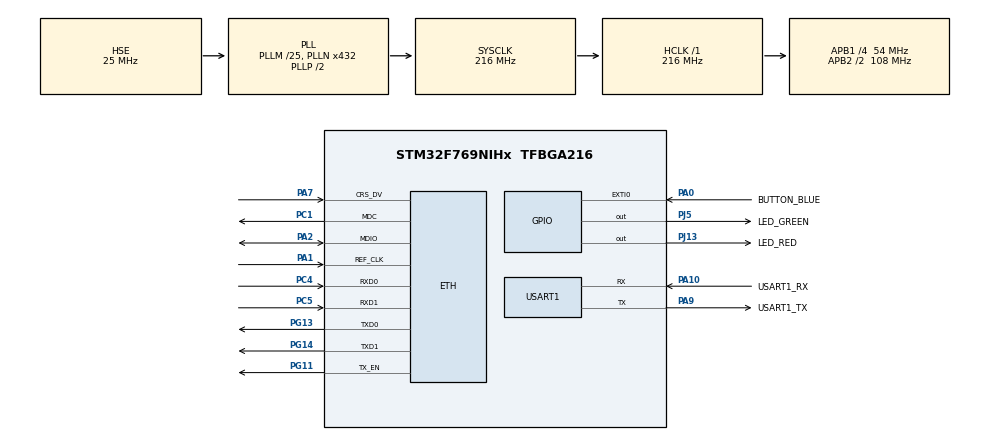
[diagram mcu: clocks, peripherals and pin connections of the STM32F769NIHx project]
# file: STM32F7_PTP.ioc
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ETH.MediaInterface=ETH_MEDIA_INTERFACE_RMII
Mcu.Family=STM32F7
Mcu.Name=STM32F769NIHx
Mcu.Package=TFBGA216
NVIC.EXTI0_IRQn=true\:0\:0\:false\:false\:true\:true\:true
NVIC.PriorityGroup=NVIC_PRIORITYGROUP_4
NVIC.USART1_IRQn=true\:0\:0\:false\:false\:true\:true\:true
PA0/WKUP.GPIO_Label=BUTTON_BLUE
PA0/WKUP.GPIO_ModeDefaultEXTI=GPIO_MODE_IT_RISING
PA0/WKUP.Signal=GPXTI0
PA1.Mode=RMII
PA1.Signal=ETH_REF_CLK
PA10.GPIO_Label=USART1_RX
PA10.Mode=Asynchronous
PA10.Signal=USART1_RX
PA13.Mode=Serial_Wire
PA13.Signal=SYS_JTMS-SWDIO
PA14.Mode=Serial_Wire
PA14.Signal=SYS_JTCK-SWCLK
PA2.Mode=RMII
PA2.Signal=ETH_MDIO
PA7.Mode=RMII
PA7.Signal=ETH_CRS_DV
PA9.GPIO_Label=USART1_TX
PA9.Mode=Asynchronous
PA9.Signal=USART1_TX
PC1.Mode=RMII
PC1.Signal=ETH_MDC
PC4.Mode=RMII
PC4.Signal=ETH_RXD0
PC5.Mode=RMII
PC5.Signal=ETH_RXD1
PG11.Mode=RMII
PG11.Signal=ETH_TX_EN
PG13.Mode=RMII
PG13.Signal=ETH_TXD0
PG14.Mode=RMII
PG14.Signal=ETH_TXD1
PG8.Signal=ETH_PPS_OUT
PH0/OSC_IN.Mode=HSE-External-Clock-Source
PH0/OSC_IN.Signal=RCC_OSC_IN
PH1/OSC_OUT.Mode=HSE-External-Clock-Source
PH1/OSC_OUT.Signal=RCC_OSC_OUT
PJ13.GPIO_Label=LED_RED
PJ13.Signal=GPIO_Output
PJ5.GPIO_Label=LED_GREEN
PJ5.Signal=GPIO_Output
ProjectManager.HeapSize=0x200
ProjectManager.StackSize=0x400
ProjectManager.TargetToolchain=STM32CubeIDE
RCC.AHBFreq_Value=216000000
RCC.APB1CLKDivider=RCC_HCLK_DIV4
RCC.APB1Freq_Value=54000000
RCC.APB1TimFreq_Value=108000000
RCC.APB2CLKDivider=RCC_HCLK_DIV2
RCC.APB2Freq_Value=108000000
RCC.APB2TimFreq_Value=216000000
RCC.CortexFreq_Value=216000000
RCC.HCLKFreq_Value=216000000
RCC.HSE_VALUE=25000000
RCC.HSI_VALUE=16000000
RCC.LSE_VALUE=32768
RCC.PLLM=25
RCC.PLLN=432
RCC.PLLQ=12
RCC.PLLSourceVirtual=RCC_PLLSOURCE_HSE
RCC.SYSCLKFreq_VALUE=216000000
RCC.SYSCLKSource=RCC_SYSCLKSOURCE_PLLCLK
RCC.USBFreq_Value=36000000
RCC.VCOOutputFreq_Value=432000000
USART1.VirtualMode-Asynchronous=VM_ASYNC
VP_RNG_VS_RNG.Mode=RNG_Activate
VP_TIM2_VS_ClockSourceITR.Mode=TriggerSource_ITR1
VP_TIM2_VS_ControllerModeClock.Mode=Clock Mode
board=custom

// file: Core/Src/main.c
/* USER CODE BEGIN Header */
/**
  ******************************************************************************
  * @file           : main.c
  * @brief          : Main program body
  ******************************************************************************
  * @attention
  *
  * <h2><center>&copy; Copyright (c) 2020 STMicroelectronics.
  * All rights reserved.</center></h2>
  *
  * This software component is licensed by ST under BSD 3-Clause license,
  * the "License"; You may not use this file except in compliance with the
  * License. You may obtain a copy of the License at:
  *                        opensource.org/licenses/BSD-3-Clause
  *
  ******************************************************************************
  */
/* USER CODE END Header */

#include "main.h"
#include "eth.h"
#include "rng.h"
#include "tim.h"
#include "usart.h"
#include "gpio.h"

/* USER CODE BEGIN Includes */
#include "top.h"
#include <string.h>
/* USER CODE END Includes */

/* USER CODE BEGIN PV */

extern UART_HandleTypeDef huart1;
/* USER CODE END PV */

void SystemClock_Config(void);
/* USER CODE BEGIN PFP */
void PrintFrame(Frame *frame, UART_HandleTypeDef *huart);
void HAL_GPIO_EXTI_Callback(uint16_t GPIO_PIN)
{
	TOP_SetTransmitFlag();
}

/* USER CODE END PFP */

int main(void)
{

  /* MCU Configuration--------------------------------------------------------*/

  /* Reset of all peripherals, Initializes the Flash interface and the Systick. */
  HAL_Init();

  /* Configure the system clock */
  SystemClock_Config();

  /* Initialize all configured peripherals */
  MX_GPIO_Init();
  MX_ETH_Init();
  MX_USART1_UART_Init();
  MX_RNG_Init();
  MX_TIM2_Init();
  /* USER CODE BEGIN 2 */
  TOP_Setup();
  /* USER CODE END 2 */

  /* Infinite loop */
  /* USER CODE BEGIN WHILE */
  TOP_Loop();

  while (1)
  {

    /* USER CODE END WHILE */

  }
}

void SystemClock_Config(void)
{
  RCC_OscInitTypeDef RCC_OscInitStruct = {0};
  RCC_ClkInitTypeDef RCC_ClkInitStruct = {0};
  RCC_PeriphCLKInitTypeDef PeriphClkInitStruct = {0};

  /** Configure the main internal regulator output voltage
  */
  __HAL_RCC_PWR_CLK_ENABLE();
  __HAL_PWR_VOLTAGESCALING_CONFIG(PWR_REGULATOR_VOLTAGE_SCALE1);
  /** Initializes the CPU, AHB and APB busses clocks
  */
  RCC_OscInitStruct.OscillatorType = RCC_OSCILLATORTYPE_HSE;
  RCC_OscInitStruct.HSEState = RCC_HSE_BYPASS;
  RCC_OscInitStruct.PLL.PLLState = RCC_PLL_ON;
  RCC_OscInitStruct.PLL.PLLSource = RCC_PLLSOURCE_HSE;
  RCC_OscInitStruct.PLL.PLLM = 25;
  RCC_OscInitStruct.PLL.PLLN = 432;
  RCC_OscInitStruct.PLL.PLLP = RCC_PLLP_DIV2;
  RCC_OscInitStruct.PLL.PLLQ = 12;
  if (HAL_RCC_OscConfig(&RCC_OscInitStruct) != HAL_OK)
  {
    Error_Handler();
  }
  /** Activate the Over-Drive mode
  */
  if (HAL_PWREx_EnableOverDrive() != HAL_OK)
  {
    Error_Handler();
  }
  /** Initializes the CPU, AHB and APB busses clocks
  */
  RCC_ClkInitStruct.ClockType = RCC_CLOCKTYPE_HCLK|RCC_CLOCKTYPE_SYSCLK
                              |RCC_CLOCKTYPE_PCLK1|RCC_CLOCKTYPE_PCLK2;
  RCC_ClkInitStruct.SYSCLKSource = RCC_SYSCLKSOURCE_PLLCLK;
  RCC_ClkInitStruct.AHBCLKDivider = RCC_SYSCLK_DIV1;
  RCC_ClkInitStruct.APB1CLKDivider = RCC_HCLK_DIV4;
  RCC_ClkInitStruct.APB2CLKDivider = RCC_HCLK_DIV2;

  if (HAL_RCC_ClockConfig(&RCC_ClkInitStruct, FLASH_LATENCY_7) != HAL_OK)
  {
    Error_Handler();
  }
  PeriphClkInitStruct.PeriphClockSelection = RCC_PERIPHCLK_USART1|RCC_PERIPHCLK_CLK48;
  PeriphClkInitStruct.Usart1ClockSelection = RCC_USART1CLKSOURCE_PCLK2;
  PeriphClkInitStruct.Clk48ClockSelection = RCC_CLK48SOURCE_PLL;
  if (HAL_RCCEx_PeriphCLKConfig(&PeriphClkInitStruct) != HAL_OK)
  {
    Error_Handler();
  }
}

/* USER CODE BEGIN 4 */
void PrintFrame(Frame *frame, UART_HandleTypeDef *huart)
{
	char s[12];

	HAL_UART_Transmit(huart, "Destination address: ", strlen("Destination address: "), 1000);
	for (int i = 0; i < 6; i++)
	{
		snprintf(s, 3, "%X", *((frame->destination_address) + i));
		HAL_UART_Transmit(huart, s, 2, 1000);
		HAL_UART_Transmit(huart, " ", 1, 1000);
	}

	HAL_UART_Transmit(huart, "\r\n", 2, 1000);

	HAL_UART_Transmit(huart, "Source address: ", strlen("Source address: "), 1000);

	for (int i = 0; i < 6; i++)
	{
		snprintf(s, 3, "%X", *((frame->source_address) + i));
		HAL_UART_Transmit(huart, s, 2, 1000);
		HAL_UART_Transmit(huart, " ", 1, 1000);
	}
	HAL_UART_Transmit(huart, "\r\n", 2, 1000);

	HAL_UART_Transmit(huart, "Length/type: ", strlen("Length/type: "), 1000);
	for (int i = 0; i < 2; i++)
	{
		snprintf(s, 3, "%X", *((frame->length_type) + i));
		HAL_UART_Transmit(huart, s, 2, 1000);
		HAL_UART_Transmit(huart, " ", 1, 1000);
	}
	HAL_UART_Transmit(huart, "\r\n", 2, 1000);

	HAL_UART_Transmit(huart, "Data: ", strlen("Data: "), 1000);
	HAL_UART_Transmit(huart, frame->data, 1500, 1000);
	HAL_UART_Transmit(huart, "\r\n", 2, 1000);
}

void PrintFrameIP(Frame *frame, UART_HandleTypeDef *huart)
{
	char s[12];

	HAL_UART_Transmit(huart, "Destination address: ", strlen("Destination address: "), 1000);
	for (int i = 0; i < 6; i++)
	{
		snprintf(s, 3, "%X", *((frame->destination_address) + i));
		HAL_UART_Transmit(huart, s, 2, 1000);
		HAL_UART_Transmit(huart, " ", 1, 1000);
	}

	HAL_UART_Transmit(huart, "\r\n", 2, 1000);

	HAL_UART_Transmit(huart, "Source address: ", strlen("Source address: "), 1000);

	for (int i = 0; i < 6; i++)
	{
		snprintf(s, 3, "%X", *((frame->source_address) + i));
		HAL_UART_Transmit(huart, s, 2, 1000);
		HAL_UART_Transmit(huart, " ", 1, 1000);
	}
	HAL_UART_Transmit(huart, "\r\n", 2, 1000);

	HAL_UART_Transmit(huart, "Length/type: ", strlen("Length/type: "), 1000);
	for (int i = 0; i < 2; i++)
	{
		snprintf(s, 3, "%X", *((frame->length_type) + i));
		HAL_UART_Transmit(huart, s, 2, 1000);
		HAL_UART_Transmit(huart, " ", 1, 1000);
	}
	HAL_UART_Transmit(huart, "\r\n", 2, 1000);

	HAL_UART_Transmit(huart, "Data: ", strlen("Data: "), 1000);
	HAL_UART_Transmit(huart, frame->data, 1500, 1000);
	HAL_UART_Transmit(huart, "\r\n", 2, 1000);
}

/* USER CODE END 4 */

void Error_Handler(void)
{
}

/************************ (C) COPYRIGHT STMicroelectronics *****END OF FILE****/
